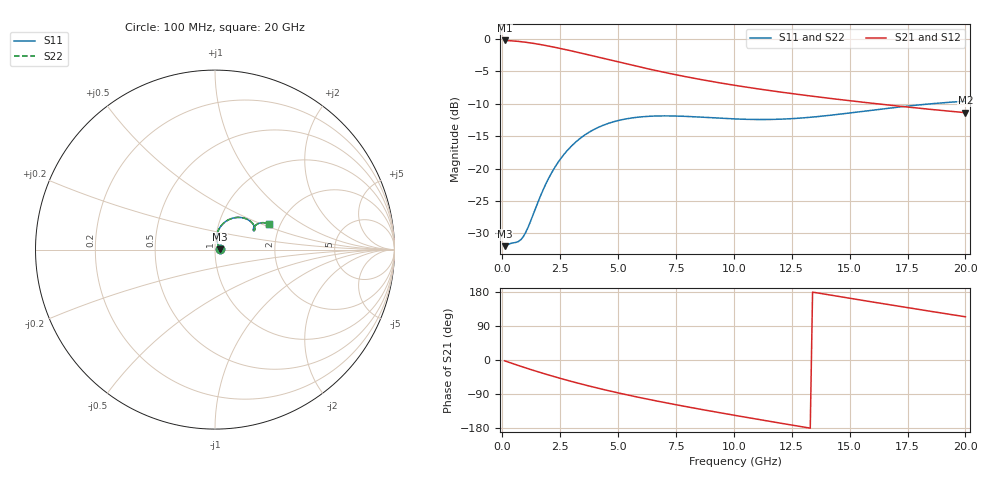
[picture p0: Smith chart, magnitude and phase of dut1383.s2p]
! Touchstone file exported from HFSS 2024.1.0
!  File:  C:/UserFiles/LocalFiles/RDL_TSV_Batchsim/temp_RDL_TSV_1383_1780401608.aedt
!  Generated:  08:19:26 PM Jun  2, 2026
!  Design:  RDL_TSV
!  Project:  temp_RDL_TSV_1383_1780401608
!  Setup:  Setup1
!  Solution:  Sweep
! Variables:
!  dtsv = 9.42um
!  hbump = 3um
!  htsv = 95.35um
!  ldown = 622.63um
!  lrdl = 375.71um
!  p = 40
!  p1 = 47.34um
!  rhole = 10um
!  subl = 3370.73um
!  t = 450um
!  tdown = 2.22um
!  trdl = 4.04um
!  viad = 10um
!  wdown = 15.59um
!  wrdl = 22.62um
!  xbump = 18um
# GHz S MA R 50.000000
! Terminal data exported
! Port[1] = TM1_1_T1
! Port[2] = TM1_4_T1
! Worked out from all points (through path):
!   200 points, 100 MHz to 20 GHz, reference 50 ohm
!   highest |S21| = -0.22 dB at 100 MHz (marker M1); lowest = -11.4 dB at 20 GHz (marker M2)
!   group delay of S21, straight-line fit = 32.2 ps
!   lowest |S11| = -32.0 dB at 100 MHz (marker M3), VSWR 1.05, Z = 52.6 + j0.286 ohm
!   |S11| at or under -10 dB: start of sweep to 18.5 GHz
!   |S22| runs from -32.0 to -9.6 dB; largest |S21 - S12| = 9.6e-15
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0.1  0.02524 6.2  0.9745 -2.2  0.9745 -2.2  0.02524 6.2
! Gamma 0 0 0 0
! Port Impedance 50 0 50 0
0.7  0.02745 38.2  0.9582 -14.6  0.9582 -14.6  0.02745 38.2
0.9  0.02976 51.9  0.9495 -18.7  0.9495 -18.7  0.02975 51.9
1.1  0.03483 64.5  0.9393 -22.6  0.9393 -22.6  0.03482 64.5
1.8  0.07097 82.2  0.896 -35.9  0.896 -35.9  0.07095 82.3
2.2  0.09758 81.3  0.8678 -43.2  0.8678 -43.2  0.09758 81.4
2.6  0.1246 77.7  0.8384 -50.1  0.8384 -50.1  0.1246 77.7
3  0.1502 72.9  0.8085 -56.8  0.8085 -56.8  0.1502 73.0
3.5  0.1786 66.5  0.7711 -64.8  0.7711 -64.8  0.1786 66.6
4.2  0.2103 57.8  0.7201 -75.4  0.7201 -75.4  0.2104 57.8
5.1  0.2371 48.0  0.6592 -88.1  0.6592 -88.1  0.2372 48.0
5.9  0.2499 40.8  0.6106 -98.6  0.6106 -98.6  0.25 40.8
6.8  0.2551 34.5  0.5626 -109.8  0.5626 -109.8  0.2553 34.6
7.6  0.2543 30.5  0.5256 -119.2  0.5256 -119.2  0.2545 30.5
8.4  0.2507 27.7  0.4934 -128.2  0.4934 -128.2  0.251 27.8
10.1  0.2416 25.8  0.4376 -146.7  0.4376 -146.7  0.2419 25.8
11.7  0.2398 27.3  0.3968 -163.4  0.3968 -163.4  0.2401 27.3
13.4  0.2499 29.8  0.3618 179.1  0.3618 179.1  0.2503 29.9
15.1  0.2701 31.1  0.3327 162.0  0.3327 162.0  0.2705 31.1
16.7  0.2927 30.5  0.3092 146.1  0.3092 146.1  0.2932 30.5
18.3  0.3139 28.4  0.2889 130.4  0.2889 130.4  0.3144 28.4
20  0.3314 25.2  0.2702 114.0  0.2702 114.0  0.332 25.2
